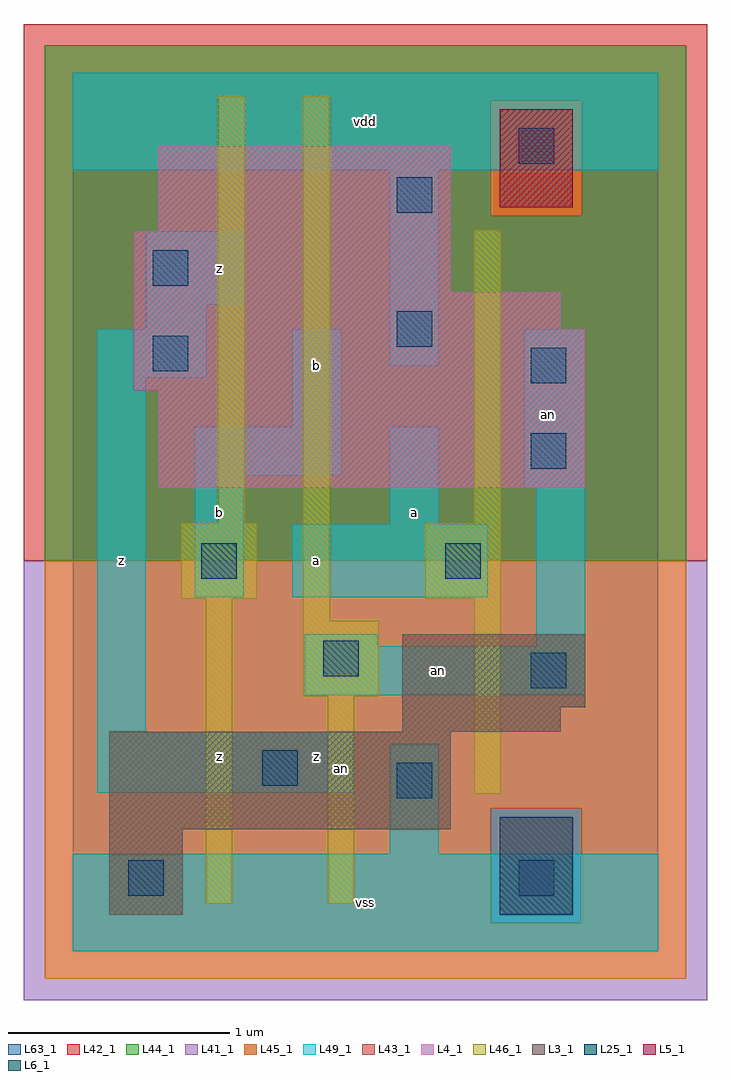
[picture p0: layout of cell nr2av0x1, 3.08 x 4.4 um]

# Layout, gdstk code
import gdstk
lib = gdstk.Library(unit=1e-6, precision=1e-09)
def R(c, l, rs):  # rectangles x0, y0, x1, y1
    for r in rs: c.add(gdstk.rectangle(r[:2], r[2:], *l))
L3_1 = (3, 1)
L4_1 = (4, 1)
L5_1 = (5, 1)
L6_1 = (6, 1)
L25_1 = (25, 1)
L41_1 = (41, 1)
L42_1 = (42, 1)
L43_1 = (43, 1)
L44_1 = (44, 1)
L45_1 = (45, 1)
L46_1 = (46, 1)
L49_1 = (49, 1)
L63_1 = (63, 1)

nr2av0x1 = lib.new_cell('nr2av0x1')
R(nr2av0x1, L3_1, [(0.165,0.165,0.495,0.55), (0.165,0.55,1.705,0.99), (1.485,0.99,2.2,1.1), (1.485,1.1,2.31,1.43)])
R(nr2av0x1, L4_1, [(0.385,2.09,2.31,2.53), (0.275,2.53,2.31,2.805), (0.275,2.805,2.2,2.97), (0.275,2.97,1.705,3.245), (0.385,3.245,1.705,3.63)])
R(nr2av0x1, L5_1, [(1.925,3.355,2.255,3.795)])
R(nr2av0x1, L6_1, [(1.925,0.165,2.255,0.605)])
R(nr2av0x1, L25_1, [(0.25,0.25,0.41,0.41), (2.01,0.25,2.17,0.41), (1.46,0.69,1.62,0.85), (0.855,0.745,1.015,0.905), (2.065,1.185,2.225,1.345), (1.13,1.24,1.29,1.4), (0.58,1.68,0.74,1.84), (1.68,1.68,1.84,1.84), (2.065,2.175,2.225,2.335), (2.065,2.56,2.225,2.72), (0.36,2.615,0.52,2.775), (1.46,2.725,1.62,2.885), (0.36,3,0.52,3.16), (1.46,3.33,1.62,3.49), (2.01,3.55,2.17,3.71)])
R(nr2av0x1, L41_1, [(-0.22,-0.22,2.86,1.76)])
R(nr2av0x1, L42_1, [(-0.22,1.76,2.86,4.18)])
R(nr2av0x1, L43_1, [(0.165,0.165,0.495,0.55), (1.925,0.165,2.255,0.605), (0.165,0.55,1.705,0.99), (1.485,0.99,2.2,1.1), (1.485,1.1,2.31,1.43), (0.385,2.09,2.31,2.53), (0.275,2.53,2.31,2.805), (0.275,2.805,2.2,2.97), (0.275,2.97,1.705,3.245), (0.385,3.245,1.705,3.63), (1.925,3.355,2.255,3.795)])
R(nr2av0x1, L44_1, [(1.885,0.125,2.295,0.645), (-0.125,1.76,2.765,3.315), (-0.125,3.315,1.885,3.835), (2.295,3.315,2.765,3.835), (-0.125,3.835,2.765,4.085)])
R(nr2av0x1, L45_1, [(-0.125,-0.125,2.765,0.125), (-0.125,0.125,1.885,0.645), (2.295,0.125,2.765,0.645), (-0.125,0.645,2.765,1.76), (1.885,3.315,2.295,3.835)])
R(nr2av0x1, L46_1, [(0.6,0.215,0.72,1.59), (1.15,0.215,1.27,1.15), (1.81,0.71,1.93,1.59), (1.04,1.15,1.38,1.49), (1.04,1.49,1.16,3.855), (0.49,1.59,0.83,1.93), (1.59,1.59,1.93,1.93), (0.655,1.93,0.775,3.855), (1.81,1.93,1.93,3.25)])
R(nr2av0x1, L49_1, [(0,0,2.64,0.44), (1.43,0.44,1.65,0.935), (0.11,0.715,1.265,0.99), (0.11,0.99,0.33,2.585), (1.045,1.155,2.31,1.375), (1.045,1.375,1.375,1.43), (2.09,1.375,2.31,2.09), (0.55,1.595,0.77,2.145), (0.99,1.595,1.87,1.925), (1.43,1.925,1.65,2.365), (2.035,2.09,2.31,2.805), (0.55,2.145,1.21,2.365), (0.99,2.365,1.21,2.805), (0.11,2.585,0.605,2.805), (1.43,2.64,1.65,3.52), (0.33,2.805,0.605,2.915), (0.33,2.915,0.77,3.245), (0,3.52,2.64,3.96)])
R(nr2av0x1, L63_1, [(0,0,2.64,3.96)])
nr2av0x1.add(gdstk.Label('an', (1.21,0.825), layer=46, texttype=1))
nr2av0x1.add(gdstk.Label('z', (0.22,1.76), layer=49, texttype=1))
nr2av0x1.add(gdstk.Label('z', (1.1,0.88), layer=49, texttype=1))
nr2av0x1.add(gdstk.Label('z', (0.66,0.88), layer=49, texttype=1))
nr2av0x1.add(gdstk.Label('a', (1.1,1.76), layer=49, texttype=1))
nr2av0x1.add(gdstk.Label('b', (0.66,1.98), layer=49, texttype=1))
nr2av0x1.add(gdstk.Label('b', (1.1,2.64), layer=49, texttype=1))
nr2av0x1.add(gdstk.Label('z', (0.66,3.08), layer=49, texttype=1))
nr2av0x1.add(gdstk.Label('vss', (1.32,0.22), layer=49, texttype=1))
nr2av0x1.add(gdstk.Label('a', (1.54,1.98), layer=49, texttype=1))
nr2av0x1.add(gdstk.Label('vdd', (1.32,3.74), layer=49, texttype=1))
nr2av0x1.add(gdstk.Label('an', (1.65,1.265), layer=49, texttype=1))
nr2av0x1.add(gdstk.Label('an', (2.145,2.42), layer=49, texttype=1))

lib.write_gds('nr2av0x1.gds')
